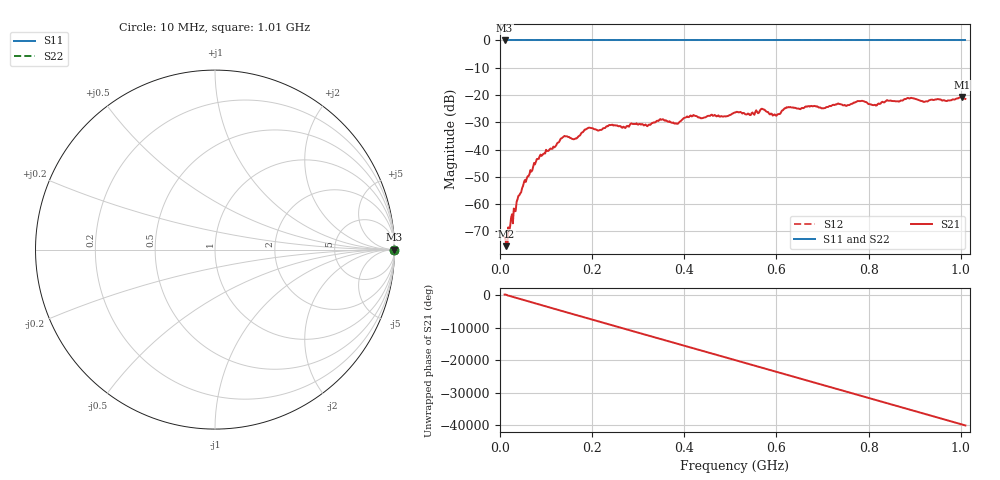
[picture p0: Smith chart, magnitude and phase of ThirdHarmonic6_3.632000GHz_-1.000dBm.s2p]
! 8/17/2025 12:11:06 PM
! C:\ANRITSUVNA\TEMP\TEMP.S2P
! CHANNEL.1
! TR.MEASUREMENT
! RAW.DATA
! RF.CORRECTION.OFF
! AVERAGING.OFF
! IF.BANDWIDTH: 5KHZ
! SWEEPTYPE:  FREQ.SWEEP(Linear)
! Reference Plane Port Info
! PORT:  PORT1  PORT2
! DISTANCE:  0  m  0  m
! TIME:  0  s  0  s
! PHASE.OFFSET:  0  deg.  0  deg.
! LOSS:  0  dB  0  dB
! REF.LOSS:  0  dB  0  dB
! REF.FREQ:  0  Hz  0  Hz
! Power Info
! POWER:  -20  dBm  -20  dBm
! EFF.POWER:  -20  dBm  -20  dBm
! SOURCE.ATTEN:  0  dB  0  dB
! TEST.ATTEN:  0  dB  0  dB
# GHZ S RI R 50.0
! FREQ.GHZ  S11RE  S11IM  S21RE  S21IM  S12RE  S12IM  S22RE  S22IM
!; PortSelection: Port_12
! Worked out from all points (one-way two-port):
!   501 points, 10 MHz to 1.01 GHz, reference 50 ohm
!   highest |S21| = -20.71 dB at 1.002 GHz (marker M1); lowest = -75.5 dB at 14 MHz (marker M2)
!   lowest |S11| = 0.0 dB at 10 MHz (marker M3)
!   |S11| at or under -10 dB: nowhere
!   |S22| runs from 0.0 to 0.0 dB; largest |S21 - S12| = 1.1
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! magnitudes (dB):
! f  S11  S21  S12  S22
! 10 MHz  0.0  -72.2  0.0  0.0
! 14 MHz  0.0  -75.5  0.0  0.0
! 40 MHz  0.0  -57.0  0.0  0.0
! 78 MHz  0.0  -44.5  0.0  0.0
! 136 MHz  0.0  -35.6  0.0  0.0
! 162 MHz  0.0  -36.2  0.0  0.0
! 178 MHz  0.0  -33.7  0.0  0.0
! 194 MHz  0.0  -32.0  0.0  0.0
! 322 MHz  0.0  -31.0  0.0  0.0
! 344 MHz  0.0  -29.5  0.0  0.0
! 382 MHz  0.0  -30.4  0.0  0.0
! 416 MHz  0.0  -27.9  0.0  0.0
! 510 MHz  0.0  -26.4  0.0  0.0
! 570 MHz  0.0  -25.1  0.0  0.0
! 596 MHz  0.0  -27.1  0.0  0.0
! 622 MHz  0.0  -24.5  0.0  0.0
! 678 MHz  0.0  -24.2  0.0  0.0
! 782 MHz  0.0  -22.3  0.0  0.0
! 814 MHz  0.0  -23.6  0.0  0.0
! 844 MHz  0.0  -22.1  0.0  0.0
! 1.002 GHz  0.0  -20.7  0.0  0.0
! 1.01 GHz  0.0  -21.4  0.0  0.0
